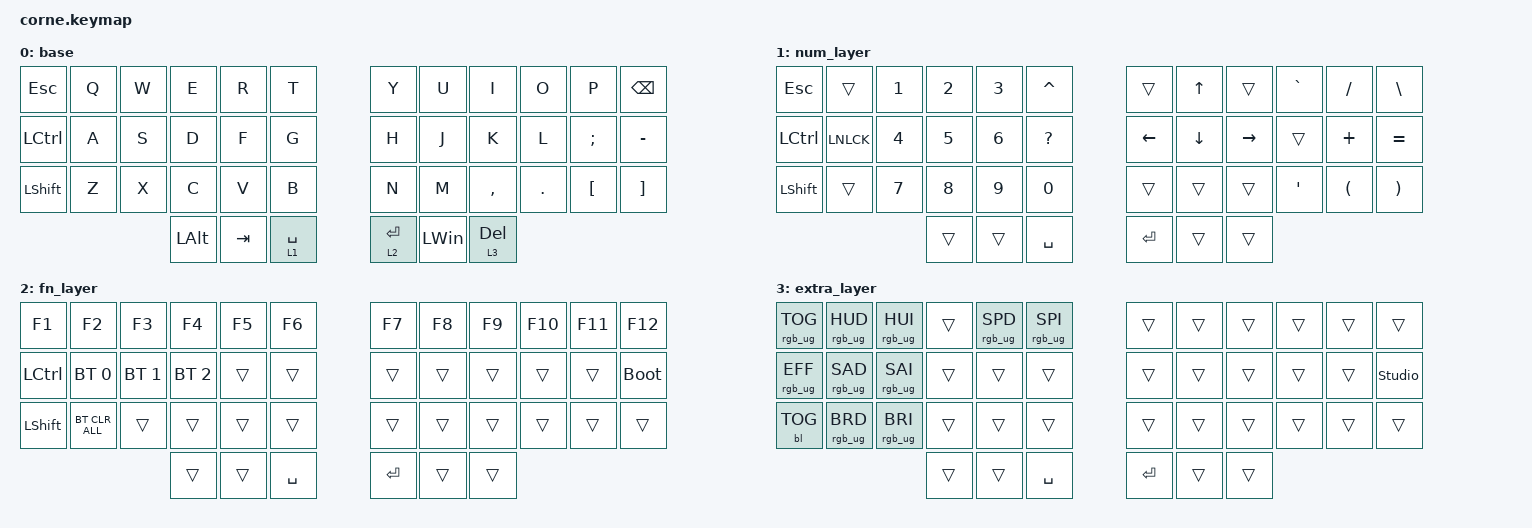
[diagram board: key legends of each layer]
#include <behaviors.dtsi>
#include <dt-bindings/zmk/keys.h>
#include <dt-bindings/zmk/bt.h>
#include <dt-bindings/zmk/ext_power.h>
#include <dt-bindings/zmk/rgb.h>
#include <dt-bindings/zmk/backlight.h>

/ {
        keymap {
                compatible = "zmk,keymap";

                base {
// -----------------------------------------------------------------------------------------
// | ESC  |  Q  |  W  |  E  |  R  |  T  |     |  Y  |  U   |  I  |  O  |  P  | BSPC |
// | CTRL |  A  |  S  |  D  |  F  |  G  |     |  H  |  J   |  K  |  L  |  ;  |  -   |
// | SHFT |  Z  |  X  |  C  |  V  |  B  |     |  N  |  M   |  ,  |  .  |  [  | ]  |
//                   | LALT | TAB | SPC |     | ENT | WIN  | DEL |
                        bindings = <
   &kp ESC   &kp Q &kp W &kp E &kp R &kp T    &kp Y &kp U  &kp I     &kp O   &kp P    &kp BSPC
   &kp LCTRL &kp A &kp S &kp D &kp F &kp G    &kp H &kp J  &kp K     &kp L   &kp SEMI &kp MINUS
   &kp LSHFT &kp Z &kp X &kp C &kp V &kp B    &kp N &kp M  &kp COMMA &kp DOT &kp LBKT &kp RBKT
              &kp LALT &kp TAB &lt 1 SPACE   &lt 2 ENTER  &kp LWIN  &lt 3 DEL
                        >;
                };
                num_layer {
// -----------------------------------------------------------------------------------------
// |  ESC |      | 1 | 2 | 3 | ^ |     |     |  UP  |     | ` | / | | |
// | CTRL | NLCK | 4 | 5 | 6 | ? |     | LFT | DWN  | RGT |   | + | = |
// | SHFT |      | 7 | 8 | 9 | 0 |     |     |      |     | ' | ( | ) |
//                 |   |   | SPC |     | ENT |   |   |
                        bindings = <
   &kp ESC    &trans    &kp N1  &kp N2  &kp N3 &kp CARET     &trans   &kp UP   &trans    &kp GRAVE &kp FSLH &kp BSLH
   &kp LCTRL  &kp LNLCK &kp N4  &kp N5  &kp N6 &kp QMARK     &kp LEFT &kp DOWN &kp RIGHT &trans    &kp PLUS &kp EQUAL
   &kp LSHFT  &trans    &kp N7  &kp N8  &kp N9 &kp N0        &trans   &trans   &trans    &kp SQT   &kp LPAR &kp RPAR
                                &trans  &trans &kp SPACE     &kp ENTER  &trans   &trans
                        >;
                };

                fn_layer {
// -----------------------------------------------------------------------------------------
// |  F1  |   F2   | F3  | F4  | F5 | F6 |     | F7 | F8 | F9 | F10 | F11 | F12  |
// | CTRL |   BT0  | BT1 | BT2 | BT3| BT4|     |    |    |    |     |     | BOOT |
// | SHFT | BT_CLR |     |     |    |    |     |    |    |    |     |     |      |
//                      |    |     | SPC |     | ENT |    |    |
                        bindings = <
   &kp  F1   &kp F2           &kp F3       &kp F4       &kp F5 &kp F6    &kp F7 &kp F8  &kp F9 &kp F10 &kp F11 &kp F12
   &kp LCTRL &bt BT_SEL 0     &bt BT_SEL 1 &bt BT_SEL 2 &trans &trans    &trans &trans &trans &trans &trans &bootloader
   &kp LSHFT &bt BT_CLR_ALL   &trans       &trans       &trans &trans    &trans &trans &trans &trans &trans &trans
                                              &trans &trans &kp SPACE    &kp ENTER &trans &trans
                        >;
                };

                extra_layer {
// -----------------------------------------------------------------------------------------------------------
// | RGB_TOG | RGB_HUD | RGB_HUI |  | RGB_SPD | RGB_SPI |     |    |    |    |     |     |              |
// | RGB_EFF | RGB_SAD | RGB_SAI |  |         |         |     |    |    |    |     |     | studioUnlock |
// | BL_TOG  | RGB_BRD | RGB_BRI |  |         |         |     |    |    |    |     |     |              |
//                                   |      |     | SPC |     | ENT |    |    |
                        bindings = <
   &rgb_ug RGB_TOG &rgb_ug RGB_HUD &rgb_ug RGB_HUI &trans &rgb_ug RGB_SPD &rgb_ug RGB_SPI     &trans &trans &trans &trans &trans &trans
   &rgb_ug RGB_EFF &rgb_ug RGB_SAD &rgb_ug RGB_SAI &trans &trans          &trans              &trans &trans &trans &trans &trans &studio_unlock
   &bl BL_TOG      &rgb_ug RGB_BRD &rgb_ug RGB_BRI &trans &trans          &trans              &trans &trans &trans &trans &trans &trans
                                                                   &trans &trans &kp SPACE    &kp ENTER &trans &trans
                        >;
                };
        };
};

&led_strip { 
        chain-length = <27>;
};
